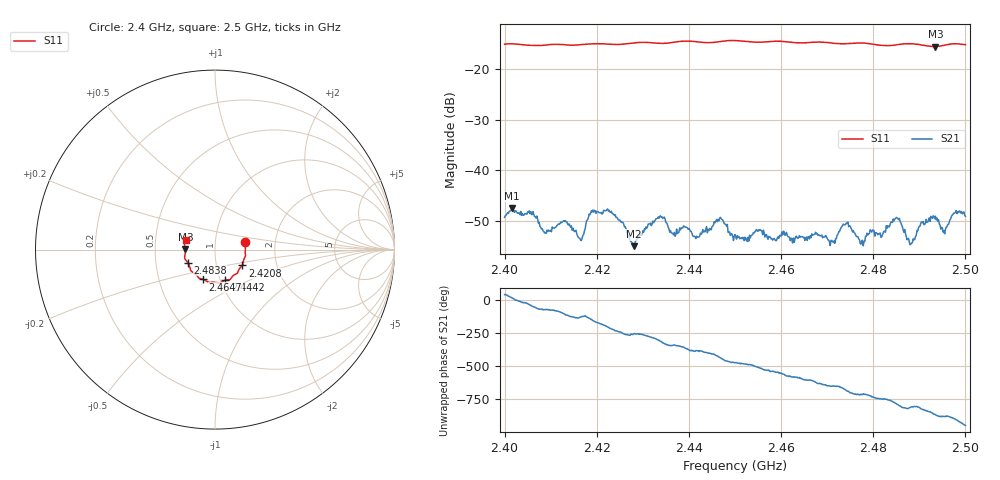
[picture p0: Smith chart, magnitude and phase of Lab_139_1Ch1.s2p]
# Hz S RI R 50
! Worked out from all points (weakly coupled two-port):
!   601 points, 2.4 GHz to 2.5 GHz, reference 50 ohm
!   highest |S21| = -47.36 dB at 2.4017 GHz (marker M1); lowest = -54.9 dB at 2.428 GHz (marker M2)
!   lowest |S11| = -15.7 dB at 2.4935 GHz (marker M3), VSWR 1.39, Z = 35.8 + j0.199 ohm
!   |S11| at or under -10 dB: start of sweep to end of sweep
!   S12 and S22 are empty: the file has one direction only
!   S11 on the Smith chart (normalised r, x): 2.4 GHz: 1.40, +0.12; 2.4208 GHz: 1.33, -0.24; 2.4442 GHz: 1.05, -0.37; 2.4647 GHz: 0.83, -0.28; 2.4838 GHz: 0.73, -0.11; 2.5 GHz: 0.71, +0.08
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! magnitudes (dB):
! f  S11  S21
! 2.4 GHz  -15.2  -49.2
! 2.4017 GHz  -15.1  -47.4
! 2.4167 GHz  -15.3  -53.8
! 2.4187 GHz  -15.1  -48.4
! 2.4208 GHz  -15.1  -48.3
! 2.428 GHz  -15.0  -54.9
! 2.4333 GHz  -15.0  -49.1
! 2.4367 GHz  -14.8  -52.7
! 2.4442 GHz  -14.9  -51.6
! 2.4468 GHz  -14.7  -49.2
! 2.45 GHz  -14.5  -52.6
! 2.4647 GHz  -14.9  -53.0
! 2.4667 GHz  -14.8  -52.5
! 2.4712 GHz  -15.0  -53.9
! 2.474 GHz  -15.1  -50.6
! 2.4777 GHz  -15.0  -53.7
! 2.4833 GHz  -15.5  -51.1
! 2.4838 GHz  -15.5  -50.2
! 2.4883 GHz  -15.1  -54.4
! 2.4935 GHz  -15.7  -49.0
! 2.4952 GHz  -15.5  -52.1
! 2.5 GHz  -15.3  -49.0
